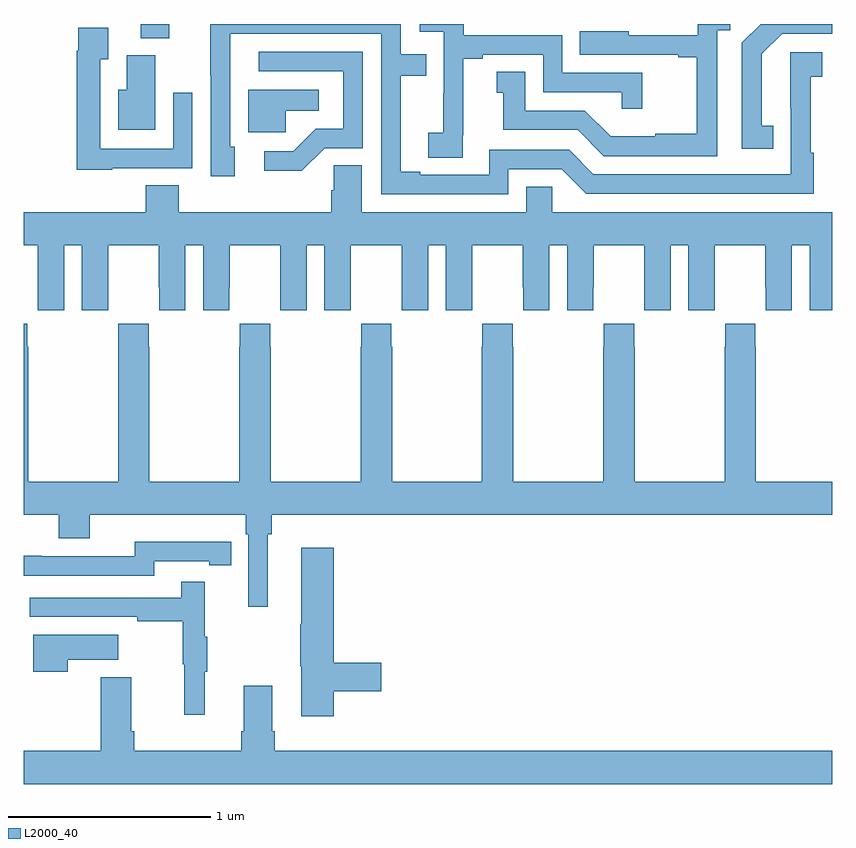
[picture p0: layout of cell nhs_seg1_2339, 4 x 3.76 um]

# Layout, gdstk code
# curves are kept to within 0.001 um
import gdstk
lib = gdstk.Library(unit=1e-6, precision=1e-09)
def R(c, l, rs):  # rectangles x0, y0, x1, y1
    for r in rs: c.add(gdstk.rectangle(r[:2], r[2:], *l))
def P(c, l, *ps):  # polygons
    for p in ps: c.add(gdstk.Polygon(p, *l))
L2000_40 = (2000, 40)

nhs_seg1_2339 = lib.new_cell('nhs_seg1_2339')
R(nhs_seg1_2339, L2000_40, [(239.579,514.129,239.719,514.199)])
P(nhs_seg1_2339, L2000_40, [(242.708,513.695),(242.65,513.695),(242.65,514.051),(242.751,514.152),(243,514.152),(243,514.199),(242.646,514.199),(242.553,514.106),(242.553,513.582),(242.708,513.582)],
  [(241.398,513.48),(241.662,513.48),(241.782,513.36),(242.909,513.36),(242.909,513.563),(242.892,513.563),(242.892,513.939),(242.95,513.939),(242.95,514.06),(242.792,514.06),(242.793,513.456),(241.818,513.456),(241.698,513.576),(241.302,513.576),(241.302,513.453),(240.961,513.453),(240.961,513.468),(240.865,513.468),(240.865,513.942),(240.992,513.942),(240.992,514.05),(240.864,514.05),(240.864,514.199),(239.924,514.199),(239.925,513.447),(240.043,513.447),(240.043,513.591),(240.021,513.591),(240.021,514.152),(240.768,514.152),(240.768,513.357),(241.398,513.357)],
  [(242.43,514.169),(242.495,514.169),(242.495,514.199),(242.334,514.199),(242.334,514.143),(241.993,514.143),(241.993,514.162),(241.75,514.162),(241.75,514.047),(242.237,514.047),(242.237,514.035),(242.329,514.035),(242.329,513.655),(242.123,513.655),(242.123,513.643),(241.904,513.643),(241.776,513.771),(241.48,513.771),(241.48,513.962),(241.34,513.962),(241.34,513.859),(241.373,513.859),(241.373,513.675),(241.74,513.675),(241.869,513.546),(242.43,513.546)],
  [(241.172,513.649),(241.174,513.649),(241.174,514.027),(241.27,514.027),(241.27,514.047),(241.569,514.047),(241.569,513.861),(241.959,513.861),(241.959,513.78),(242.06,513.78),(242.06,513.957),(241.665,513.957),(241.665,514.143),(241.178,514.143),(241.178,514.199),(240.96,514.199),(240.96,514.161),(241.077,514.161),(241.077,513.857),(241.076,513.857),(241.076,513.66),(241.002,513.66),(241.002,513.538),(241.172,513.538)],
  [(239.439,513.486),(239.835,513.486),(239.835,513.859),(239.739,513.859),(239.739,513.582),(239.379,513.582),(239.379,514.024),(239.419,514.024),(239.419,514.18),(239.271,514.18),(239.271,514.067),(239.263,514.067),(239.263,513.479),(239.439,513.479)],
  [(240.489,513.585),(240.678,513.585),(240.678,514.062),(240.162,514.062),(240.162,513.966),(240.582,513.966),(240.582,513.681),(240.444,513.681),(240.333,513.57),(240.189,513.57),(240.189,513.472),(240.376,513.472)],
  [(239.65,514.044),(239.51,514.044),(239.51,513.874),(239.468,513.874),(239.468,513.677),(239.65,513.677)],
  [(240.297,513.77),(240.46,513.77),(240.46,513.874),(240.11,513.874),(240.11,513.663),(240.297,513.663)],
  [(239.768,513.401),(239.603,513.401),(239.603,513.268),(239,513.268),(239,513.104),(239.069,513.104),(239.069,512.896),(239.07,512.896),(239.07,512.784),(239.2,512.784),(239.2,513.104),(239.288,513.104),(239.288,512.784),(239.418,512.784),(239.418,512.896),(239.419,512.896),(239.419,513.104),(239.669,513.104),(239.669,512.896),(239.67,512.896),(239.67,512.784),(239.8,512.784),(239.8,513.104),(239.888,513.104),(239.888,512.784),(240.018,512.784),(240.018,512.896),(240.019,512.896),(240.019,513.104),(240.269,513.104),(240.269,512.896),(240.27,512.896),(240.27,512.784),(240.4,512.784),(240.4,513.104),(240.488,513.104),(240.488,512.784),(240.618,512.784),(240.618,512.896),(240.619,512.896),(240.619,513.104),(240.869,513.104),(240.869,512.896),(240.87,512.896),(240.87,512.784),(241,512.784),(241,513.104),(241.088,513.104),(241.088,512.784),(241.218,512.784),(241.218,512.896),(241.219,512.896),(241.219,513.104),(241.469,513.104),(241.469,512.896),(241.47,512.896),(241.47,512.784),(241.6,512.784),(241.6,513.104),(241.688,513.104),(241.688,512.784),(241.818,512.784),(241.818,512.896),(241.819,512.896),(241.819,513.104),(242.069,513.104),(242.069,512.896),(242.07,512.896),(242.07,512.784),(242.2,512.784),(242.2,513.104),(242.288,513.104),(242.288,512.784),(242.418,512.784),(242.418,512.896),(242.419,512.896),(242.419,513.104),(242.669,513.104),(242.669,512.896),(242.67,512.896),(242.67,512.784),(242.8,512.784),(242.8,513.104),(242.888,513.104),(242.888,512.784),(243,512.784),(243,513.268),(241.614,513.268),(241.614,513.395),(241.487,513.395),(241.487,513.268),(240.673,513.268),(240.673,513.5),(240.534,513.5),(240.534,513.377),(240.521,513.377),(240.521,513.268),(239.768,513.268)],
  [(243,511.936),(242.622,511.936),(242.622,512.603),(242.619,512.603),(242.619,512.716),(242.469,512.716),(242.469,512.603),(242.467,512.603),(242.467,511.936),(242.022,511.936),(242.022,512.603),(242.019,512.603),(242.019,512.716),(241.869,512.716),(241.869,512.603),(241.867,512.603),(241.867,511.936),(241.422,511.936),(241.422,512.603),(241.419,512.603),(241.419,512.716),(241.269,512.716),(241.269,512.603),(241.267,512.603),(241.267,511.936),(240.822,511.936),(240.822,512.603),(240.819,512.603),(240.819,512.716),(240.669,512.716),(240.669,512.603),(240.667,512.603),(240.667,511.936),(240.222,511.936),(240.222,512.603),(240.219,512.603),(240.219,512.716),(240.069,512.716),(240.069,512.603),(240.067,512.603),(240.067,511.936),(239.622,511.936),(239.622,512.603),(239.619,512.603),(239.619,512.716),(239.469,512.716),(239.469,512.603),(239.467,512.603),(239.467,511.936),(239.022,511.936),(239.022,512.603),(239.019,512.603),(239.019,512.716),(239,512.716),(239,511.772),(239.174,511.772),(239.174,511.655),(239.326,511.655),(239.326,511.772),(240.098,511.772),(240.098,511.676),(240.111,511.676),(240.111,511.317),(240.208,511.317),(240.208,511.676),(240.227,511.676),(240.227,511.772),(243,511.772)],
  [(239.646,511.542),(239.918,511.542),(239.918,511.522),(240.026,511.522),(240.026,511.638),(239.918,511.638),(239.918,511.639),(239.55,511.639),(239.55,511.566),(239.09,511.566),(239.09,511.568),(239,511.568),(239,511.47),(239.646,511.47)],
  [(240.533,510.898),(240.769,510.898),(240.769,511.04),(240.533,511.04),(240.533,511.609),(240.374,511.609),(240.374,511.229),(240.367,511.229),(240.367,511.023),(240.374,511.023),(240.374,510.774),(240.533,510.774)],
  [(239.897,510.995),(239.908,510.995),(239.908,511.169),(239.897,511.169),(239.897,511.441),(239.779,511.441),(239.779,511.362),(239.031,511.362),(239.031,511.266),(239.563,511.266),(239.563,511.246),(239.787,511.246),(239.787,511.032),(239.794,511.032),(239.794,510.783),(239.897,510.783)],
  [(239.219,511.055),(239.467,511.055),(239.467,511.177),(239.048,511.177),(239.048,510.996),(239.219,510.996)],
  [(243,510.604),(240.242,510.604),(240.242,510.7),(240.229,510.7),(240.229,510.925),(240.089,510.925),(240.089,510.7),(240.077,510.7),(240.077,510.604),(239.546,510.604),(239.546,510.7),(239.533,510.7),(239.533,510.967),(239.381,510.967),(239.381,510.604),(239,510.604),(239,510.44),(243,510.44)])

lib.write_gds('nhs_seg1_2339.gds')
